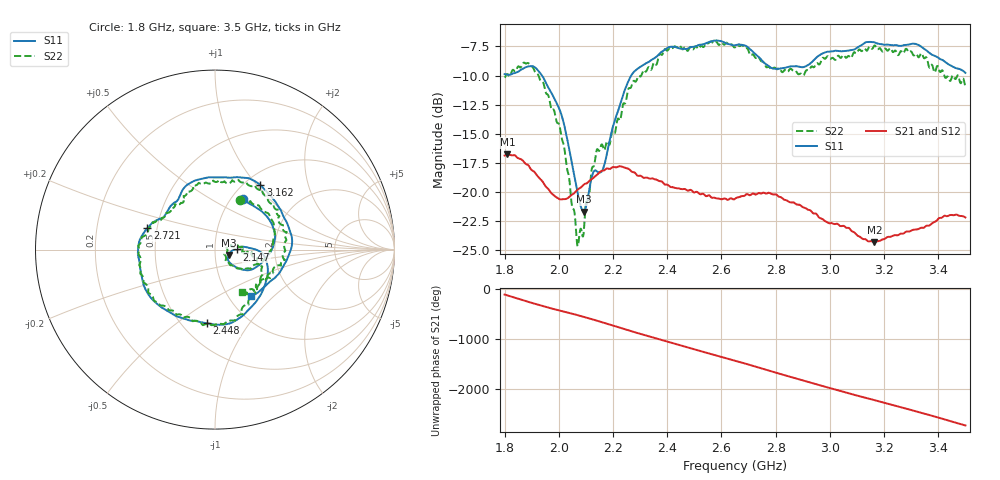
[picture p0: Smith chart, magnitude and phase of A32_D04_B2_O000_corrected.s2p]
! Created with skrf 1.9.0 (http://scikit-rf.org).
# Hz S RI R 50.0
!freq ReS11 ImS11 ReS21 ImS21 ReS12 ImS12 ReS22 ImS22
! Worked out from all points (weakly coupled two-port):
!   1601 points, 1.8 GHz to 3.5 GHz, reference 50 ohm
!   highest |S21| = -16.78 dB at 1.811 GHz (marker M1); lowest = -24.3 dB at 3.164 GHz (marker M2)
!   lowest |S11| = -21.7 dB at 2.092 GHz (marker M3), VSWR 1.18, Z = 58.2 - j3.46 ohm
!   |S11| at or under -10 dB: 1.938 GHz to 2.267 GHz (328.7 MHz wide, 15.6 % of centre)
!   |S22| runs from -24.7 to -7.1 dB; largest |S21 - S12| = 0.0023
!   S11 on the Smith chart (normalised r, x): 1.8 GHz: 1.14, +0.71; 2.147 GHz: 1.28, +0.00; 2.448 GHz: 0.66, -0.65; 2.721 GHz: 0.44, +0.13; 3.162 GHz: 1.17, +1.05; 3.5 GHz: 1.27, -0.73
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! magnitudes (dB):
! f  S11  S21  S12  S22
! 1.8 GHz  -9.9  -16.9  -16.9  -10.2
! 1.811 GHz  -9.9  -16.8  -16.8  -9.9
! 1.882 GHz  -9.3  -17.6  -17.6  -8.9
! 1.941 GHz  -10.1  -19.1  -19.1  -10.6
! 2.011 GHz  -13.5  -20.6  -20.6  -15.4
! 2.067 GHz  -19.8  -19.8  -19.8  -24.3
! 2.084 GHz  -21.4  -19.6  -19.5  -23.3
! 2.092 GHz  -21.7  -19.4  -19.4  -23.4
! 2.126 GHz  -18.4  -18.8  -18.8  -17.8
! 2.147 GHz  -18.3  -18.4  -18.4  -16.5
! 2.188 GHz  -15.5  -18.0  -18.0  -15.9
! 2.262 GHz  -10.2  -18.1  -18.1  -11.1
! 2.367 GHz  -8.2  -19.0  -19.0  -8.4
! 2.448 GHz  -7.7  -19.7  -19.7  -7.5
! 2.65 GHz  -7.4  -20.6  -20.6  -7.6
! 2.721 GHz  -8.1  -20.2  -20.1  -8.3
! 2.793 GHz  -9.4  -20.2  -20.2  -9.3
! 2.934 GHz  -8.8  -21.7  -21.7  -9.2
! 3.162 GHz  -7.1  -24.3  -24.2  -7.5
! 3.164 GHz  -7.1  -24.3  -24.3  -7.4
! 3.217 GHz  -7.4  -23.9  -23.8  -7.8
! 3.5 GHz  -9.8  -22.2  -22.2  -11.0
